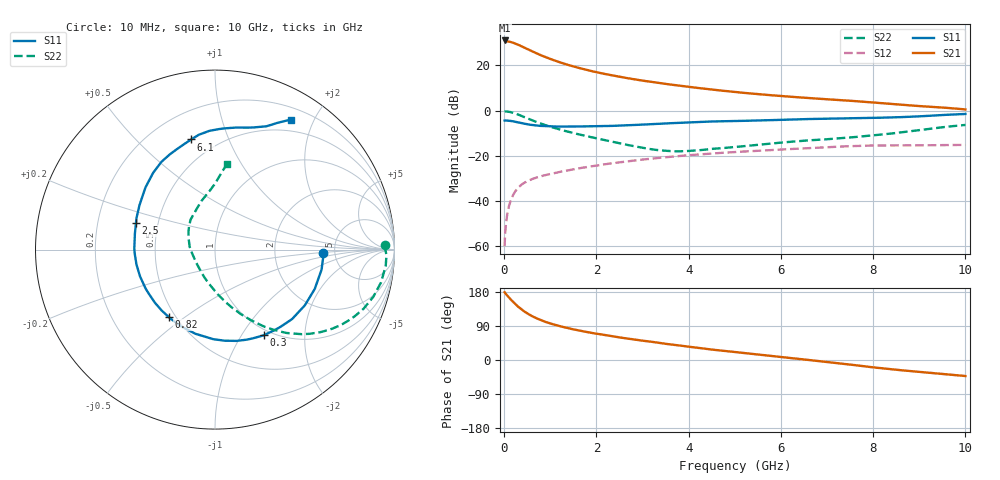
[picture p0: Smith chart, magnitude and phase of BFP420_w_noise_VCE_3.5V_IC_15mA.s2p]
! Infineon Technologies  Discrete & RF Semiconductors
! BFP420
! VCE =  3.5 V,  IC =  15 mA
! Common Emitter S-Parameters:  Jan 2016
# GHz  S  MA  R  50
!  f  S11  S21  S12  S22
! GHz  MAG  ANG  MAG  ANG  MAG  ANG  MAG  ANG
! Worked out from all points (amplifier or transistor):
!   233 points, 10 MHz to 10 GHz, reference 50 ohm
!   highest |S21| = 31.0 dB at 10 MHz (marker M1)
!   |S21| within 3 dB of that: start of sweep to 421.1 MHz
!   unconditionally stable (mu >= 1): start of sweep to 12.87 MHz; 2.053 GHz to end of sweep
!   at 200 MHz: K = 0.23, MSG = 33.6 dB, |S12| = -37.1 dB
!   at 1.74 GHz: K = 0.93, MSG = 21.7 dB, |S12| = -25.1 dB
!   at 10 GHz: K = 1.08, MAG = 6.2 dB, |S12| = -15.2 dB
!   lowest NFmin = 1.06 dB at 900 MHz
!   S11 on the Smith chart (normalised r, x): 10 MHz: 3.99, -0.26; 300 MHz: 0.92, -1.26; 820 MHz: 0.46, -0.43; 2.5 GHz: 0.37, +0.14; 6.1 GHz: 0.37, +0.74; 10 GHz: 0.34, +1.69
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0.01  0.601 -2.0  35.53 178.7  0.001 63.5  0.9452 1.4
0.02  0.6042 -4.1  34.55 176.6  0.0018 68.6  0.9557 -1.9
0.1  0.5974 -21.6  33.73 165.5  0.0074 76.3  0.943 -11.2
0.15  0.5889 -31.9  32.74 158.7  0.0108 74.0  0.92 -16.7
0.2  0.5782 -42.0  31.53 152.4  0.0139 70.9  0.8902 -21.8
0.3  0.5491 -60.5  28.69 140.9  0.0194 65.1  0.819 -30.8
0.4  0.5227 -76.7  25.76 131.2  0.0239 60.4  0.7445 -38.2
0.52  0.494 -93.3  22.51 121.7  0.028 56.5  0.6619 -45.2
0.6  0.4815 -103.1  20.59 116.0  0.0303 54.4  0.6128 -49.3
0.7  0.4674 -113.8  18.5 110.1  0.033 52.8  0.5591 -53.4
0.82  0.4554 -124.6  16.38 104.1  0.0357 51.3  0.5052 -57.7
1  0.4468 -138.5  13.85 96.4  0.0396 50.1  0.4388 -63.2
1.2  0.4433 -150.7  11.73 89.4  0.0438 49.3  0.382 -68.7
1.68  0.4457 -172.5  8.453 76.5  0.054 47.8  0.2878 -80.0
2  0.4495 176.4  7.059 69.5  0.061 46.5  0.2436 -87.4
2.5  0.4649 161.4  5.593 59.7  0.0717 43.6  0.189 -101.4
3.4  0.512 140.3  4.016 44.6  0.0906 37.4  0.1313 -137.4
5.1  0.5899 114.2  2.517 19.7  0.1225 23.4  0.1597 157.1
6.1  0.6278 102.2  2.061 6.8  0.1389 15.3  0.1995 135.7
6.8  0.6555 94.7  1.833 -2.6  0.1512 9.0  0.2251 123.5
8.4  0.7041 74.8  1.399 -24.5  0.1694 -8.2  0.3109 98.3
10  0.84 59.6  1.06 -42.3  0.174 -20.1  0.4808 81.9
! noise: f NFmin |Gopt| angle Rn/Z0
0.9  1.06  0.09  -152  0.13
1.8  1.36  0.18  -147  0.12
2.4  1.49  0.17  -148  0.14
3  1.53  0.25  -138  0.14
4  1.67  0.38  -119  0.2
5  2.14  0.44  -103  0.32
6  2.48  0.5  -88  0.47
